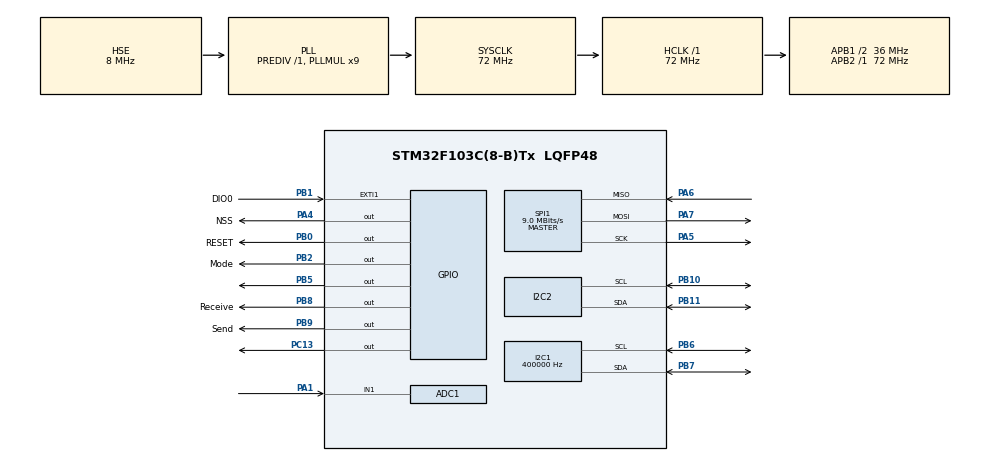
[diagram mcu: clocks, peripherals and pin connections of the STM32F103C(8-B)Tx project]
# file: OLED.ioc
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ADC1.Channel-1\#ChannelRegularConversion=ADC_CHANNEL_1
ADC1.NbrOfConversionFlag=1
ADC1.Rank-1\#ChannelRegularConversion=1
ADC1.SamplingTime-1\#ChannelRegularConversion=ADC_SAMPLETIME_1CYCLE_5
ADC1.master=1
Dma.I2C1_TX.0.Direction=DMA_MEMORY_TO_PERIPH
Dma.I2C1_TX.0.Instance=DMA1_Channel6
Dma.I2C1_TX.0.MemDataAlignment=DMA_MDATAALIGN_BYTE
Dma.I2C1_TX.0.MemInc=DMA_MINC_ENABLE
Dma.I2C1_TX.0.Mode=DMA_NORMAL
Dma.I2C1_TX.0.PeriphDataAlignment=DMA_PDATAALIGN_BYTE
Dma.I2C1_TX.0.PeriphInc=DMA_PINC_DISABLE
Dma.I2C1_TX.0.Priority=DMA_PRIORITY_LOW
Dma.Request0=I2C1_TX
I2C1.ClockSpeed=400000
I2C1.I2C_Mode=I2C_Fast
I2C2.I2C_Mode=I2C_Fast
Mcu.Family=STM32F1
Mcu.Name=STM32F103C(8-B)Tx
Mcu.Package=LQFP48
NVIC.DMA1_Channel6_IRQn=true\:0\:0\:false\:false\:true\:false\:true\:true
NVIC.EXTI1_IRQn=true\:0\:0\:false\:false\:true\:true\:true\:true
NVIC.PriorityGroup=NVIC_PRIORITYGROUP_4
PA1.Signal=ADCx_IN1
PA13.Mode=Serial_Wire
PA13.Signal=SYS_JTMS-SWDIO
PA14.Mode=Serial_Wire
PA14.Signal=SYS_JTCK-SWCLK
PA4.GPIO_Label=NSS
PA4.Signal=GPIO_Output
PA5.Mode=Full_Duplex_Master
PA5.Signal=SPI1_SCK
PA6.Mode=Full_Duplex_Master
PA6.Signal=SPI1_MISO
PA7.Mode=Full_Duplex_Master
PA7.Signal=SPI1_MOSI
PB0.GPIO_Label=RESET
PB0.Signal=GPIO_Output
PB1.GPIO_Label=DIO0
PB1.Signal=GPXTI1
PB10.Mode=I2C
PB10.Signal=I2C2_SCL
PB11.Mode=I2C
PB11.Signal=I2C2_SDA
PB2.GPIO_Label=Mode
PB2.Signal=GPIO_Output
PB5.Signal=GPIO_Output
PB6.Mode=I2C
PB6.Signal=I2C1_SCL
PB7.Mode=I2C
PB7.Signal=I2C1_SDA
PB8.GPIO_Label=Receive
PB8.Signal=GPIO_Output
PB9.GPIO_Label=Send
PB9.Signal=GPIO_Output
PC13-TAMPER-RTC.Signal=GPIO_Output
PC14-OSC32_IN.Mode=LSE-External-Oscillator
PC14-OSC32_IN.Signal=RCC_OSC32_IN
PC15-OSC32_OUT.Mode=LSE-External-Oscillator
PC15-OSC32_OUT.Signal=RCC_OSC32_OUT
PD0-OSC_IN.Mode=HSE-External-Oscillator
PD0-OSC_IN.Signal=RCC_OSC_IN
PD1-OSC_OUT.Mode=HSE-External-Oscillator
PD1-OSC_OUT.Signal=RCC_OSC_OUT
ProjectManager.HeapSize=0x200
ProjectManager.StackSize=0x400
ProjectManager.TargetToolchain=STM32CubeIDE
RCC.ADCPresc=RCC_ADCPCLK2_DIV6
RCC.AHBFreq_Value=72000000
RCC.APB1CLKDivider=RCC_HCLK_DIV2
RCC.APB1Freq_Value=36000000
RCC.APB1TimFreq_Value=72000000
RCC.APB2Freq_Value=72000000
RCC.APB2TimFreq_Value=72000000
RCC.HCLKFreq_Value=72000000
RCC.PLLMUL=RCC_PLL_MUL9
RCC.PLLSourceVirtual=RCC_PLLSOURCE_HSE
RCC.SYSCLKFreq_VALUE=72000000
RCC.SYSCLKSource=RCC_SYSCLKSOURCE_PLLCLK
RCC.USBFreq_Value=72000000
SH.ADCx_IN1.0=ADC1_IN1,IN1
SPI1.BaudRatePrescaler=SPI_BAUDRATEPRESCALER_8
SPI1.CalculateBaudRate=9.0 MBits/s
SPI1.Direction=SPI_DIRECTION_2LINES
SPI1.Mode=SPI_MODE_MASTER
SPI1.VirtualType=VM_MASTER
VP_IWDG_VS_IWDG.Mode=IWDG_Activate
VP_TIM2_VS_ClockSourceINT.Mode=Internal
board=custom

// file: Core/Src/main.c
/* USER CODE BEGIN Header */
/**
  ******************************************************************************
  * @file           : main.c
  * @brief          : Main program body
  ******************************************************************************
  * @attention
  *
  * Copyright (c) 2024 STMicroelectronics.
  * All rights reserved.
  *
  * This software is licensed under terms that can be found in the LICENSE file
  * in the root directory of this software component.
  * If no LICENSE file comes with this software, it is provided AS-IS.
  *
  ******************************************************************************
  */
/* USER CODE END Header */
#include "main.h"

/* USER CODE BEGIN Includes */
#include "SX1278.h"
#include "SX1278_if.h"
#include "SSD1306.h"
#include "UserInterface.h"
/* USER CODE END Includes */

ADC_HandleTypeDef hadc1;

I2C_HandleTypeDef hi2c1;
I2C_HandleTypeDef hi2c2;
DMA_HandleTypeDef hdma_i2c1_tx;

IWDG_HandleTypeDef hiwdg;

SPI_HandleTypeDef hspi1;
TIM_HandleTypeDef htim1;
TIM_HandleTypeDef htim2;

/* USER CODE BEGIN PV */
SX1278_hw_t SX1278_hw;
SX1278_t SX1278;
float Temp=0;
float Humi=0;
/* USER CODE END PV */

void SystemClock_Config(void);
static void MX_GPIO_Init(void);
static void MX_DMA_Init(void);
static void MX_I2C1_Init(void);
static void MX_SPI1_Init(void);
static void MX_ADC1_Init(void);
static void MX_I2C2_Init(void);
static void MX_IWDG_Init(void);
static void MX_TIM2_Init(void);

/* USER CODE BEGIN 0 */

void ADC_Select_CH1 (void)
{
	ADC_ChannelConfTypeDef sConfig = {0};
	  /** Configure for the selected ADC regular channel its corresponding rank in the sequencer and its sample time.
	  */
	  sConfig.Channel = ADC_CHANNEL_1;
	  sConfig.Rank = 1;
	  sConfig.SamplingTime = ADC_SAMPLETIME_28CYCLES_5;
	  if (HAL_ADC_ConfigChannel(&hadc1, &sConfig) != HAL_OK)
	  {
	    Error_Handler();
	  }
}
/* USER CODE END 0 */

int main(void)
{

  /* MCU Configuration--------------------------------------------------------*/

  /* Reset of all peripherals, Initializes the Flash interface and the Systick. */
  HAL_Init();

  /* Configure the system clock */
  SystemClock_Config();

  /* Initialize all configured peripherals */
  MX_GPIO_Init();
  MX_DMA_Init();
  MX_I2C1_Init();
  MX_SPI1_Init();
  MX_ADC1_Init();
  MX_I2C2_Init();
  //MX_IWDG_Init();
  MX_TIM2_Init();
  /* USER CODE BEGIN 2 */
  HAL_TIM_Base_Start(&htim1);
  //FUNC_get_DHT_val((uint8_t* ) buffer_DHT);
  //HAL_TIM_Base_Start_IT(&htim2);
  LORA_IF_Init();

  /* USER CODE END 2 */

  /* Infinite loop */
  while(1)
  {

  }
}

void SystemClock_Config(void)
{
  RCC_OscInitTypeDef RCC_OscInitStruct = {0};
  RCC_ClkInitTypeDef RCC_ClkInitStruct = {0};
  RCC_PeriphCLKInitTypeDef PeriphClkInit = {0};

  /** Initializes the RCC Oscillators according to the specified parameters
  * in the RCC_OscInitTypeDef structure.
  */
  RCC_OscInitStruct.OscillatorType = RCC_OSCILLATORTYPE_LSI|RCC_OSCILLATORTYPE_HSE;
  RCC_OscInitStruct.HSEState = RCC_HSE_ON;
  RCC_OscInitStruct.HSEPredivValue = RCC_HSE_PREDIV_DIV1;
  RCC_OscInitStruct.HSIState = RCC_HSI_ON;
  RCC_OscInitStruct.LSIState = RCC_LSI_ON;
  RCC_OscInitStruct.PLL.PLLState = RCC_PLL_ON;
  RCC_OscInitStruct.PLL.PLLSource = RCC_PLLSOURCE_HSE;
  RCC_OscInitStruct.PLL.PLLMUL = RCC_PLL_MUL9;
  if (HAL_RCC_OscConfig(&RCC_OscInitStruct) != HAL_OK)
  {
    Error_Handler();
  }

  /** Initializes the CPU, AHB and APB buses clocks
  */
  RCC_ClkInitStruct.ClockType = RCC_CLOCKTYPE_HCLK|RCC_CLOCKTYPE_SYSCLK
                              |RCC_CLOCKTYPE_PCLK1|RCC_CLOCKTYPE_PCLK2;
  RCC_ClkInitStruct.SYSCLKSource = RCC_SYSCLKSOURCE_PLLCLK;
  RCC_ClkInitStruct.AHBCLKDivider = RCC_SYSCLK_DIV1;
  RCC_ClkInitStruct.APB1CLKDivider = RCC_HCLK_DIV2;
  RCC_ClkInitStruct.APB2CLKDivider = RCC_HCLK_DIV1;

  if (HAL_RCC_ClockConfig(&RCC_ClkInitStruct, FLASH_LATENCY_2) != HAL_OK)
  {
    Error_Handler();
  }
  PeriphClkInit.PeriphClockSelection = RCC_PERIPHCLK_ADC;
  PeriphClkInit.AdcClockSelection = RCC_ADCPCLK2_DIV6;
  if (HAL_RCCEx_PeriphCLKConfig(&PeriphClkInit) != HAL_OK)
  {
    Error_Handler();
  }
}

static void MX_ADC1_Init(void)
{

  ADC_ChannelConfTypeDef sConfig = {0};

  /** Common config
  */
  hadc1.Instance = ADC1;
  hadc1.Init.ScanConvMode = ADC_SCAN_DISABLE;
  hadc1.Init.ContinuousConvMode = DISABLE;
  hadc1.Init.DiscontinuousConvMode = DISABLE;
  hadc1.Init.ExternalTrigConv = ADC_SOFTWARE_START;
  hadc1.Init.DataAlign = ADC_DATAALIGN_RIGHT;
  hadc1.Init.NbrOfConversion = 1;
  if (HAL_ADC_Init(&hadc1) != HAL_OK)
  {
    Error_Handler();
  }

  /** Configure Regular Channel
  */
  sConfig.Channel = ADC_CHANNEL_1;
  sConfig.Rank = ADC_REGULAR_RANK_1;
  sConfig.SamplingTime = ADC_SAMPLETIME_1CYCLE_5;
  if (HAL_ADC_ConfigChannel(&hadc1, &sConfig) != HAL_OK)
  {
    Error_Handler();
  }

}

static void MX_I2C1_Init(void)
{

  hi2c1.Instance = I2C1;
  hi2c1.Init.ClockSpeed = 400000;
  hi2c1.Init.DutyCycle = I2C_DUTYCYCLE_2;
  hi2c1.Init.OwnAddress1 = 0;
  hi2c1.Init.AddressingMode = I2C_ADDRESSINGMODE_7BIT;
  hi2c1.Init.DualAddressMode = I2C_DUALADDRESS_DISABLE;
  hi2c1.Init.OwnAddress2 = 0;
  hi2c1.Init.GeneralCallMode = I2C_GENERALCALL_DISABLE;
  hi2c1.Init.NoStretchMode = I2C_NOSTRETCH_DISABLE;
  if (HAL_I2C_Init(&hi2c1) != HAL_OK)
  {
    Error_Handler();
  }

}

static void MX_I2C2_Init(void)
{

  hi2c2.Instance = I2C2;
  hi2c2.Init.ClockSpeed = 400000;
  hi2c2.Init.DutyCycle = I2C_DUTYCYCLE_2;
  hi2c2.Init.OwnAddress1 = 0;
  hi2c2.Init.AddressingMode = I2C_ADDRESSINGMODE_7BIT;
  hi2c2.Init.DualAddressMode = I2C_DUALADDRESS_DISABLE;
  hi2c2.Init.OwnAddress2 = 0;
  hi2c2.Init.GeneralCallMode = I2C_GENERALCALL_DISABLE;
  hi2c2.Init.NoStretchMode = I2C_NOSTRETCH_DISABLE;
  if (HAL_I2C_Init(&hi2c2) != HAL_OK)
  {
    Error_Handler();
  }

}

static void MX_IWDG_Init(void)
{

  hiwdg.Instance = IWDG;
  hiwdg.Init.Prescaler = IWDG_PRESCALER_4;
  hiwdg.Init.Reload = 4095;
  if (HAL_IWDG_Init(&hiwdg) != HAL_OK)
  {
    Error_Handler();
  }

}

static void MX_SPI1_Init(void)
{

  /* SPI1 parameter configuration*/
  hspi1.Instance = SPI1;
  hspi1.Init.Mode = SPI_MODE_MASTER;
  hspi1.Init.Direction = SPI_DIRECTION_2LINES;
  hspi1.Init.DataSize = SPI_DATASIZE_8BIT;
  hspi1.Init.CLKPolarity = SPI_POLARITY_LOW;
  hspi1.Init.CLKPhase = SPI_PHASE_1EDGE;
  hspi1.Init.NSS = SPI_NSS_SOFT;
  hspi1.Init.BaudRatePrescaler = SPI_BAUDRATEPRESCALER_8;
  hspi1.Init.FirstBit = SPI_FIRSTBIT_MSB;
  hspi1.Init.TIMode = SPI_TIMODE_DISABLE;
  hspi1.Init.CRCCalculation = SPI_CRCCALCULATION_DISABLE;
  hspi1.Init.CRCPolynomial = 10;
  if (HAL_SPI_Init(&hspi1) != HAL_OK)
  {
    Error_Handler();
  }

}

static void MX_TIM2_Init(void)
{

  TIM_ClockConfigTypeDef sClockSourceConfig = {0};
  TIM_MasterConfigTypeDef sMasterConfig = {0};

  htim2.Instance = TIM2;
  htim2.Init.Prescaler = 0;
  htim2.Init.CounterMode = TIM_COUNTERMODE_UP;
  htim2.Init.Period = 65535;
  htim2.Init.ClockDivision = TIM_CLOCKDIVISION_DIV1;
  htim2.Init.AutoReloadPreload = TIM_AUTORELOAD_PRELOAD_DISABLE;
  if (HAL_TIM_Base_Init(&htim2) != HAL_OK)
  {
    Error_Handler();
  }
  sClockSourceConfig.ClockSource = TIM_CLOCKSOURCE_INTERNAL;
  if (HAL_TIM_ConfigClockSource(&htim2, &sClockSourceConfig) != HAL_OK)
  {
    Error_Handler();
  }
  sMasterConfig.MasterOutputTrigger = TIM_TRGO_RESET;
  sMasterConfig.MasterSlaveMode = TIM_MASTERSLAVEMODE_DISABLE;
  if (HAL_TIMEx_MasterConfigSynchronization(&htim2, &sMasterConfig) != HAL_OK)
  {
    Error_Handler();
  }

}

static void MX_DMA_Init(void)
{

  /* DMA controller clock enable */
  __HAL_RCC_DMA1_CLK_ENABLE();

  /* DMA interrupt init */
  /* DMA1_Channel6_IRQn interrupt configuration */
  HAL_NVIC_SetPriority(DMA1_Channel6_IRQn, 0, 0);
  HAL_NVIC_EnableIRQ(DMA1_Channel6_IRQn);

}

static void MX_GPIO_Init(void)
{
  GPIO_InitTypeDef GPIO_InitStruct = {0};

  /* GPIO Ports Clock Enable */
  __HAL_RCC_GPIOC_CLK_ENABLE();
  __HAL_RCC_GPIOD_CLK_ENABLE();
  __HAL_RCC_GPIOA_CLK_ENABLE();
  __HAL_RCC_GPIOB_CLK_ENABLE();

  /*Configure GPIO pin Output Level */
  HAL_GPIO_WritePin(GPIOC, GPIO_PIN_13, GPIO_PIN_RESET);

  /*Configure GPIO pin Output Level */
  HAL_GPIO_WritePin(NSS_GPIO_Port, NSS_Pin, GPIO_PIN_RESET);

  /*Configure GPIO pin Output Level */
  HAL_GPIO_WritePin(GPIOB, RESET_Pin|Mode_Pin|GPIO_PIN_5|Receive_Pin
                          |Send_Pin, GPIO_PIN_RESET);

  /*Configure GPIO pin : PC13 */
  GPIO_InitStruct.Pin = GPIO_PIN_13;
  GPIO_InitStruct.Mode = GPIO_MODE_OUTPUT_PP;
  GPIO_InitStruct.Pull = GPIO_NOPULL;
  GPIO_InitStruct.Speed = GPIO_SPEED_FREQ_LOW;
  HAL_GPIO_Init(GPIOC, &GPIO_InitStruct);

  /*Configure GPIO pin : NSS_Pin */
  GPIO_InitStruct.Pin = NSS_Pin;
  GPIO_InitStruct.Mode = GPIO_MODE_OUTPUT_PP;
  GPIO_InitStruct.Pull = GPIO_NOPULL;
  GPIO_InitStruct.Speed = GPIO_SPEED_FREQ_LOW;
  HAL_GPIO_Init(NSS_GPIO_Port, &GPIO_InitStruct);

  /*Configure GPIO pins : RESET_Pin Mode_Pin PB5 Receive_Pin
                           Send_Pin */
  GPIO_InitStruct.Pin = RESET_Pin|Mode_Pin|GPIO_PIN_5|Receive_Pin
                          |Send_Pin;
  GPIO_InitStruct.Mode = GPIO_MODE_OUTPUT_PP;
  GPIO_InitStruct.Pull = GPIO_NOPULL;
  GPIO_InitStruct.Speed = GPIO_SPEED_FREQ_LOW;
  HAL_GPIO_Init(GPIOB, &GPIO_InitStruct);

  /*Configure GPIO pin : DIO0_Pin */
  GPIO_InitStruct.Pin = DIO0_Pin;
  GPIO_InitStruct.Mode = GPIO_MODE_IT_RISING;
  GPIO_InitStruct.Pull = GPIO_NOPULL;
  HAL_GPIO_Init(DIO0_GPIO_Port, &GPIO_InitStruct);

  /* EXTI interrupt init*/
  HAL_NVIC_SetPriority(EXTI1_IRQn, 0, 0);
  HAL_NVIC_EnableIRQ(EXTI1_IRQn);

}

void Error_Handler(void)
{
  __disable_irq();
  while (1)
  {
  }
}
